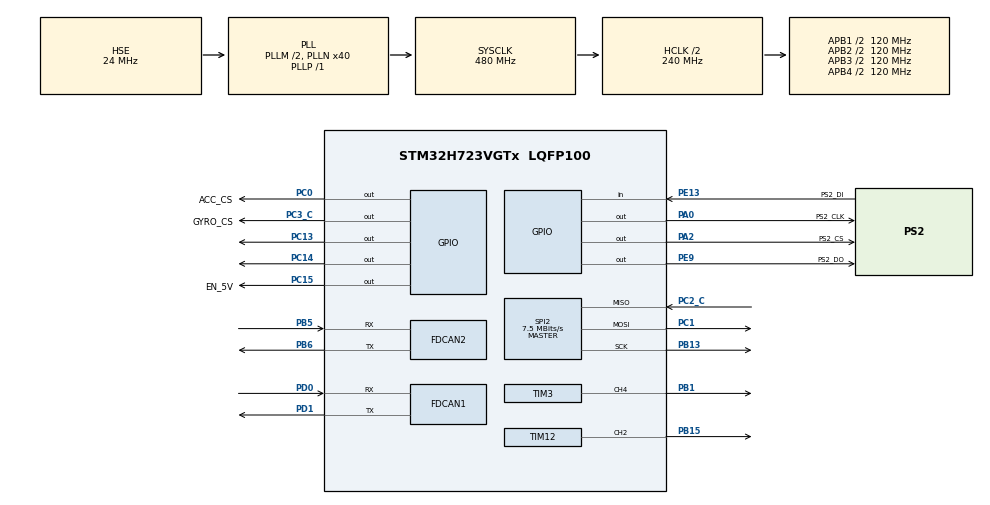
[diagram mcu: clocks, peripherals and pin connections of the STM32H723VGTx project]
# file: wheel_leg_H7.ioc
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CORTEX_M7.default_mode_Activation=1
FDCAN1.CalculateBaudRateNominal=1000000
FDCAN1.CalculateTimeBitNominal=1000
FDCAN1.CalculateTimeQuantumNominal=40.0
FDCAN1.DataPrescaler=4
FDCAN1.DataTimeSeg1=19
FDCAN1.DataTimeSeg2=5
FDCAN1.ExtFiltersNbr=5
FDCAN1.NominalPrescaler=4
FDCAN1.NominalTimeSeg1=19
FDCAN1.NominalTimeSeg2=5
FDCAN1.RxFifo0ElmtSize=FDCAN_DATA_BYTES_24
FDCAN1.RxFifo0ElmtsNbr=4
FDCAN1.RxFifo1ElmtSize=FDCAN_DATA_BYTES_24
FDCAN1.StdFiltersNbr=5
FDCAN1.TxElmtSize=FDCAN_DATA_BYTES_24
FDCAN1.TxFifoQueueElmtsNbr=8
FDCAN2.CalculateBaudRateNominal=1000000
FDCAN2.CalculateTimeBitNominal=1000
FDCAN2.CalculateTimeQuantumNominal=50.0
FDCAN2.DataPrescaler=5
FDCAN2.DataSyncJumpWidth=1
FDCAN2.DataTimeSeg1=14
FDCAN2.DataTimeSeg2=5
FDCAN2.ExtFiltersNbr=5
FDCAN2.MessageRAMOffset=854
FDCAN2.NominalPrescaler=5
FDCAN2.NominalTimeSeg1=14
FDCAN2.NominalTimeSeg2=5
FDCAN2.RxFifo0ElmtSize=FDCAN_DATA_BYTES_8
FDCAN2.RxFifo0ElmtsNbr=0
FDCAN2.RxFifo1ElmtSize=FDCAN_DATA_BYTES_24
FDCAN2.RxFifo1ElmtsNbr=4
FDCAN2.StdFiltersNbr=5
FDCAN2.TxElmtSize=FDCAN_DATA_BYTES_16
FDCAN2.TxFifoQueueElmtsNbr=4
FREERTOS.Tasks01=defaultTask,24,128,StartDefaultTask,Default,NULL,Dynamic,NULL,NULL
FREERTOS.configENABLE_FPU=1
Mcu.Family=STM32H7
Mcu.Name=STM32H723VGTx
Mcu.Package=LQFP100
NVIC.FDCAN1_IT0_IRQn=true\:5\:0\:false\:false\:true\:true\:true\:true\:true
NVIC.FDCAN2_IT0_IRQn=true\:5\:0\:false\:false\:true\:true\:true\:true\:true
NVIC.PriorityGroup=NVIC_PRIORITYGROUP_4
NVIC.TIM2_IRQn=true\:15\:0\:false\:false\:true\:false\:false\:true\:true
NVIC.TimeBase=TIM2_IRQn
NVIC.TimeBaseIP=TIM2
PA0.GPIO_Label=PS2_CLK
PA0.PinState=GPIO_PIN_SET
PA0.Signal=GPIO_Output
PA13(JTMS/SWDIO).Mode=Serial_Wire
PA13(JTMS/SWDIO).Signal=DEBUG_JTMS-SWDIO
PA14(JTCK/SWCLK).Mode=Serial_Wire
PA14(JTCK/SWCLK).Signal=DEBUG_JTCK-SWCLK
PA2.GPIO_Label=PS2_CS
PA2.PinState=GPIO_PIN_SET
PA2.Signal=GPIO_Output
PB1.Signal=S_TIM3_CH4
PB13.GPIO_Speed=GPIO_SPEED_FREQ_VERY_HIGH
PB13.Mode=Full_Duplex_Master
PB13.Signal=SPI2_SCK
PB15.Signal=S_TIM12_CH2
PB5.Mode=FDCAN_Activate
PB5.Signal=FDCAN2_RX
PB6.Mode=FDCAN_Activate
PB6.Signal=FDCAN2_TX
PC0.GPIO_Label=ACC_CS
PC0.GPIO_Speed=GPIO_SPEED_FREQ_VERY_HIGH
PC0.PinState=GPIO_PIN_SET
PC0.Signal=GPIO_Output
PC1.GPIO_Speed=GPIO_SPEED_FREQ_VERY_HIGH
PC1.Mode=Full_Duplex_Master
PC1.Signal=SPI2_MOSI
PC13.Signal=GPIO_Output
PC14-OSC32_IN.Signal=GPIO_Output
PC15-OSC32_OUT.GPIO_Label=EN_5V
PC15-OSC32_OUT.Signal=GPIO_Output
PC2_C.GPIO_Speed=GPIO_SPEED_FREQ_VERY_HIGH
PC2_C.Mode=Full_Duplex_Master
PC2_C.Signal=SPI2_MISO
PC3_C.GPIO_Label=GYRO_CS
PC3_C.GPIO_Speed=GPIO_SPEED_FREQ_VERY_HIGH
PC3_C.PinState=GPIO_PIN_SET
PC3_C.Signal=GPIO_Output
PD0.Mode=FDCAN_Activate
PD0.Signal=FDCAN1_RX
PD1.Mode=FDCAN_Activate
PD1.Signal=FDCAN1_TX
PE13.GPIO_Label=PS2_DI
PE13.GPIO_PuPd=GPIO_PULLUP
PE13.Signal=GPIO_Input
PE9.GPIO_Label=PS2_DO
PE9.PinState=GPIO_PIN_SET
PE9.Signal=GPIO_Output
PH0-OSC_IN.Mode=HSE-External-Oscillator
PH0-OSC_IN.Signal=RCC_OSC_IN
PH1-OSC_OUT.Mode=HSE-External-Oscillator
PH1-OSC_OUT.Signal=RCC_OSC_OUT
ProjectManager.HeapSize=0x200
ProjectManager.StackSize=0x400
ProjectManager.TargetToolchain=MDK-ARM V5.32
RCC.ADCFreq_Value=150000000
RCC.APB1Freq_Value=120000000
RCC.APB2Freq_Value=120000000
RCC.APB3Freq_Value=120000000
RCC.APB4Freq_Value=120000000
RCC.CortexFreq_Value=480000000
RCC.D1PPRE=RCC_APB3_DIV2
RCC.D2PPRE1=RCC_APB1_DIV2
RCC.D2PPRE2=RCC_APB2_DIV2
RCC.D3PPRE=RCC_APB4_DIV2
RCC.DIVM1=2
RCC.DIVM2=2
RCC.DIVN1=40
RCC.DIVN2=25
RCC.DIVP1=1
RCC.DIVQ1=4
RCC.DIVQ2=3
RCC.FDCANCLockSelection=RCC_FDCANCLKSOURCE_PLL2
RCC.HCLKFreq_Value=240000000
RCC.HPRE=RCC_HCLK_DIV2
RCC.HSE_VALUE=24000000
RCC.PLL2FRACN=0
RCC.PLL3FRACN=0
RCC.PLLFRACN=0
RCC.PLLSourceVirtual=RCC_PLLSOURCE_HSE
RCC.SYSCLKFreq_VALUE=480000000
RCC.SYSCLKSource=RCC_SYSCLKSOURCE_PLLCLK
RCC.USBFreq_Value=120000000
SH.S_TIM12_CH2.0=TIM12_CH2,PWM Generation2 CH2
SH.S_TIM3_CH4.0=TIM3_CH4,PWM Generation4 CH4
SPI2.BaudRatePrescaler=SPI_BAUDRATEPRESCALER_16
SPI2.CLKPhase=SPI_PHASE_2EDGE
SPI2.CLKPolarity=SPI_POLARITY_HIGH
SPI2.CalculateBaudRate=7.5 MBits/s
SPI2.DataSize=SPI_DATASIZE_8BIT
SPI2.Direction=SPI_DIRECTION_2LINES
SPI2.Mode=SPI_MODE_MASTER
SPI2.VirtualType=VM_MASTER
TIM12.AutoReloadPreload=TIM_AUTORELOAD_PRELOAD_ENABLE
TIM12.Channel-PWM\ Generation2\ CH2=TIM_CHANNEL_2
TIM12.Period=2000-1
TIM12.Prescaler=24-1
TIM12.Pulse-PWM\ Generation2\ CH2=1000
TIM3.AutoReloadPreload=TIM_AUTORELOAD_PRELOAD_ENABLE
TIM3.Channel-PWM\ Generation4\ CH4=TIM_CHANNEL_4
TIM3.Period=10000-1
TIM3.Prescaler=24-1
VP_FREERTOS_VS_CMSIS_V2.Mode=CMSIS_V2
VP_MEMORYMAP_VS_MEMORYMAP.Mode=CurAppReg
VP_SYS_VS_tim2.Mode=TIM2
board=custom

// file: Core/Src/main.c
/* USER CODE BEGIN Header */
/**
  ******************************************************************************
  * @file           : main.c
  * @brief          : Main program body
  ******************************************************************************
  * @attention
  *
  * Copyright (c) 2026 STMicroelectronics.
  * All rights reserved.
  *
  * This software is licensed under terms that can be found in the LICENSE file
  * in the root directory of this software component.
  * If no LICENSE file comes with this software, it is provided AS-IS.
  *
  ******************************************************************************
  */
/* USER CODE END Header */
#include "main.h"
#include "FreeRTOS.h"
#include "cmsis_os2.h"
#include "fdcan.h"
#include "spi.h"
#include "tim.h"
#include "gpio.h"

/* USER CODE BEGIN Includes */
#include "BMI088driver.h"
#include "mahony_filter.h"
#include "bsp_dwt.h"
#include "BMI088Middleware.h"
#include "can_bsp.h"
#include "dm4310_drv.h"
#include "buzzer.h"
#include "DebugConfig.h"
/* USER CODE END Includes */

/* USER CODE BEGIN PV */
uint8_t BMI088_INIT_OK_FLAG = 0;
/* USER CODE END PV */

void SystemClock_Config(void);
void PeriphCommonClock_Config(void);
static void MPU_Config(void);
void MX_FREERTOS_Init(void);
/* USER CODE BEGIN PFP */

void FREERTOS_ALLTASK_Init(void);

/* USER CODE END PFP */

int main(void)
{

  /* MPU Configuration--------------------------------------------------------*/
  MPU_Config();

  /* MCU Configuration--------------------------------------------------------*/

  /* Reset of all peripherals, Initializes the Flash interface and the Systick. */
  HAL_Init();

  /* Configure the system clock */
  SystemClock_Config();

  /* Configure the peripherals common clocks */
  PeriphCommonClock_Config();

  /* Initialize all configured peripherals */
  MX_GPIO_Init();
  MX_SPI2_Init();
  MX_FDCAN1_Init();
  MX_FDCAN2_Init();
  MX_TIM3_Init();
  MX_TIM12_Init();
  /* USER CODE BEGIN 2 */
	// 根据主频设定
	DWT_Init(480);
	// 这个GPIO是控制5V输出的
	HAL_GPIO_WritePin(GPIOC,EN_5V_Pin,GPIO_PIN_SET);

	while (BMI088_init(&hspi2, 0) != BMI088_NO_ERROR)
	{
	  ;
	}
	// 给到温度控制任务，让其知道能读温度了
	BMI088_INIT_OK_FLAG = 1;
	// 把电机供电打开
	Power_OUT1_ON;
	Power_OUT2_ON;
	FDCAN1_Config();//can过滤器初始化
	FDCAN2_Config();
	Init_buzzer();

  /* USER CODE END 2 */

  /* Init scheduler */
  osKernelInitialize();  /* Call init function for freertos objects (in cmsis_os2.c) */
  MX_FREERTOS_Init();

  /* Start scheduler */
  osKernelStart();

  /* We should never get here as control is now taken by the scheduler */

  /* Infinite loop */
  while (1)
  {

  }
}

void SystemClock_Config(void)
{
  RCC_OscInitTypeDef RCC_OscInitStruct = {0};
  RCC_ClkInitTypeDef RCC_ClkInitStruct = {0};

  /** Supply configuration update enable
  */
  HAL_PWREx_ConfigSupply(PWR_LDO_SUPPLY);

  /** Configure the main internal regulator output voltage
  */
  __HAL_PWR_VOLTAGESCALING_CONFIG(PWR_REGULATOR_VOLTAGE_SCALE0);

  while(!__HAL_PWR_GET_FLAG(PWR_FLAG_VOSRDY)) {}

  /** Initializes the RCC Oscillators according to the specified parameters
  * in the RCC_OscInitTypeDef structure.
  */
  RCC_OscInitStruct.OscillatorType = RCC_OSCILLATORTYPE_HSE;
  RCC_OscInitStruct.HSEState = RCC_HSE_ON;
  RCC_OscInitStruct.PLL.PLLState = RCC_PLL_ON;
  RCC_OscInitStruct.PLL.PLLSource = RCC_PLLSOURCE_HSE;
  RCC_OscInitStruct.PLL.PLLM = 2;
  RCC_OscInitStruct.PLL.PLLN = 40;
  RCC_OscInitStruct.PLL.PLLP = 1;
  RCC_OscInitStruct.PLL.PLLQ = 4;
  RCC_OscInitStruct.PLL.PLLR = 2;
  RCC_OscInitStruct.PLL.PLLRGE = RCC_PLL1VCIRANGE_3;
  RCC_OscInitStruct.PLL.PLLVCOSEL = RCC_PLL1VCOWIDE;
  RCC_OscInitStruct.PLL.PLLFRACN = 0;
  if (HAL_RCC_OscConfig(&RCC_OscInitStruct) != HAL_OK)
  {
    Error_Handler();
  }

  /** Initializes the CPU, AHB and APB buses clocks
  */
  RCC_ClkInitStruct.ClockType = RCC_CLOCKTYPE_HCLK|RCC_CLOCKTYPE_SYSCLK
                              |RCC_CLOCKTYPE_PCLK1|RCC_CLOCKTYPE_PCLK2
                              |RCC_CLOCKTYPE_D3PCLK1|RCC_CLOCKTYPE_D1PCLK1;
  RCC_ClkInitStruct.SYSCLKSource = RCC_SYSCLKSOURCE_PLLCLK;
  RCC_ClkInitStruct.SYSCLKDivider = RCC_SYSCLK_DIV1;
  RCC_ClkInitStruct.AHBCLKDivider = RCC_HCLK_DIV2;
  RCC_ClkInitStruct.APB3CLKDivider = RCC_APB3_DIV2;
  RCC_ClkInitStruct.APB1CLKDivider = RCC_APB1_DIV2;
  RCC_ClkInitStruct.APB2CLKDivider = RCC_APB2_DIV2;
  RCC_ClkInitStruct.APB4CLKDivider = RCC_APB4_DIV2;

  if (HAL_RCC_ClockConfig(&RCC_ClkInitStruct, FLASH_LATENCY_3) != HAL_OK)
  {
    Error_Handler();
  }
}

void PeriphCommonClock_Config(void)
{
  RCC_PeriphCLKInitTypeDef PeriphClkInitStruct = {0};

  /** Initializes the peripherals clock
  */
  PeriphClkInitStruct.PeriphClockSelection = RCC_PERIPHCLK_FDCAN;
  PeriphClkInitStruct.PLL2.PLL2M = 2;
  PeriphClkInitStruct.PLL2.PLL2N = 25;
  PeriphClkInitStruct.PLL2.PLL2P = 2;
  PeriphClkInitStruct.PLL2.PLL2Q = 3;
  PeriphClkInitStruct.PLL2.PLL2R = 2;
  PeriphClkInitStruct.PLL2.PLL2RGE = RCC_PLL2VCIRANGE_3;
  PeriphClkInitStruct.PLL2.PLL2VCOSEL = RCC_PLL2VCOWIDE;
  PeriphClkInitStruct.PLL2.PLL2FRACN = 0;
  PeriphClkInitStruct.FdcanClockSelection = RCC_FDCANCLKSOURCE_PLL2;
  if (HAL_RCCEx_PeriphCLKConfig(&PeriphClkInitStruct) != HAL_OK)
  {
    Error_Handler();
  }
}

 /* MPU Configuration */

void MPU_Config(void)
{
  MPU_Region_InitTypeDef MPU_InitStruct = {0};

  /* Disables the MPU */
  HAL_MPU_Disable();

  /** Initializes and configures the Region and the memory to be protected
  */
  MPU_InitStruct.Enable = MPU_REGION_ENABLE;
  MPU_InitStruct.Number = MPU_REGION_NUMBER0;
  MPU_InitStruct.BaseAddress = 0x0;
  MPU_InitStruct.Size = MPU_REGION_SIZE_4GB;
  MPU_InitStruct.SubRegionDisable = 0x87;
  MPU_InitStruct.TypeExtField = MPU_TEX_LEVEL0;
  MPU_InitStruct.AccessPermission = MPU_REGION_NO_ACCESS;
  MPU_InitStruct.DisableExec = MPU_INSTRUCTION_ACCESS_DISABLE;
  MPU_InitStruct.IsShareable = MPU_ACCESS_SHAREABLE;
  MPU_InitStruct.IsCacheable = MPU_ACCESS_NOT_CACHEABLE;
  MPU_InitStruct.IsBufferable = MPU_ACCESS_NOT_BUFFERABLE;

  HAL_MPU_ConfigRegion(&MPU_InitStruct);
  /* Enables the MPU */
  HAL_MPU_Enable(MPU_PRIVILEGED_DEFAULT);

}

void HAL_TIM_PeriodElapsedCallback(TIM_HandleTypeDef *htim)
{
  if (htim->Instance == TIM2)
  {
    HAL_IncTick();
  }
}

void Error_Handler(void)
{
  __disable_irq();
  while (1)
  {
  }
}

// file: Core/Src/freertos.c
/* USER CODE BEGIN Header */
/**
  ******************************************************************************
  * File Name          : freertos.c
  * Description        : Code for freertos applications
  ******************************************************************************
  * @attention
  *
  * Copyright (c) 2026 STMicroelectronics.
  * All rights reserved.
  *
  * This software is licensed under terms that can be found in the LICENSE file
  * in the root directory of this software component.
  * If no LICENSE file comes with this software, it is provided AS-IS.
  *
  ******************************************************************************
  */
/* USER CODE END Header */

#include "FreeRTOS.h"
#include "task.h"
#include "main.h"
#include "FreeRTOS.h"
#include "cmsis_os2.h"

/* USER CODE BEGIN Includes */

#include "cmsis_os2.h"
#include "ps2_drv.h"
#include "BMI088driver.h"
#include "INS_task.h"
#include "chassisL_task.h"
#include "chassisR_task.h"
#include "observe_task.h"
#include "DebugConfig.h"
#include "imu_temp_ctrl.h"
/* USER CODE END Includes */

/* USER CODE BEGIN Variables */

osThreadId_t INS_TASKHandle;
osThreadId_t R_CHASSIS_TASKHandle;
osThreadId_t L_CHASSIS_TASKHandle;
osThreadId_t OBSERVER_TASKHandle;
osThreadId_t PS2_TASKHandle;
osThreadId_t Temp_TASKHandle;

extern SPI_HandleTypeDef hspi2;
volatile uint32_t IF_RTOS_UPDATE_DATA = 0;
volatile uint32_t fm_magic = 0x12345678;

/* USER CODE END Variables */
/* Definitions for defaultTask */
osThreadId_t defaultTaskHandle;
const osThreadAttr_t defaultTask_attributes = {
  .name = "defaultTask",
  .stack_size = 128 * 4,
  .priority = (osPriority_t) osPriorityNormal,
};

/* USER CODE BEGIN FunctionPrototypes */
void FREERTOS_ALLTASK_Init(void);

// ���ӵ���Ӧ�ĺ���ʵ������
void INS_Task(void*argument);
void R_CHASSIS_Task(void*argument);
void L_CHASSIS_Task(void*argument);
void OBSERVER_Task(void*argument);
void PS2_Task(void*argument);
void IMU_TempCtrlTask(void*argument);
/* USER CODE END FunctionPrototypes */

void StartDefaultTask(void *argument);

void MX_FREERTOS_Init(void); /* (MISRA C 2004 rule 8.1) */

void MX_FREERTOS_Init(void) {

  /* Create the thread(s) */
  /* creation of defaultTask */
  defaultTaskHandle = osThreadNew(StartDefaultTask, NULL, &defaultTask_attributes);

  /* USER CODE BEGIN RTOS_THREADS */
	FREERTOS_ALLTASK_Init();
  /* add threads, ... */
  /* USER CODE END RTOS_THREADS */

}

void StartDefaultTask(void *argument)
{
  /* USER CODE BEGIN StartDefaultTask */
  /* Infinite loop */
  for(;;)
  {
    osDelay(1);
		#if DEBUGGING_WITHOUT_IMU
		IF_RTOS_UPDATE_DATA++;
		#endif
  }
  /* USER CODE END StartDefaultTask */
}

/* USER CODE BEGIN Application */
void FREERTOS_ALLTASK_Init()
{
	//--------------------------------------------------------------------
	const osThreadAttr_t INS_TASK_attributes = {
		.name = "INS_TASK",
		.stack_size = 512,
		.priority = (osPriority_t) osPriorityRealtime,
	};

	INS_TASKHandle = osThreadNew(INS_Task, NULL, &INS_TASK_attributes);
	//--------------------------------------------------------------------

	const osThreadAttr_t R_CHASSIS_TASK_attributes = {
		.name = "R_CHASSIS_TASK",
		.stack_size = 1024,
		.priority = (osPriority_t) osPriorityAboveNormal,
	};

	R_CHASSIS_TASKHandle = osThreadNew(R_CHASSIS_Task, NULL, &R_CHASSIS_TASK_attributes);
	//--------------------------------------------------------------------
	const osThreadAttr_t L_CHASSIS_TASK_attributes = {
		.name = "L_CHASSIS_TASK",
		.stack_size = 1024,
		.priority = (osPriority_t) osPriorityAboveNormal,
	};

	L_CHASSIS_TASKHandle = osThreadNew(L_CHASSIS_Task, NULL, &L_CHASSIS_TASK_attributes);
	//--------------------------------------------------------------------

	const osThreadAttr_t OBSERVER_TASK_attributes = {
		.name = "OBSERVER_TASK",
		.stack_size = 512,
		.priority = (osPriority_t) osPriorityHigh,
	};

	OBSERVER_TASKHandle = osThreadNew(OBSERVER_Task, NULL, &OBSERVER_TASK_attributes);
	//--------------------------------------------------------------------
	const osThreadAttr_t PS2_TASK_attributes = {
		.name = "PS2_TASK",
		.stack_size = 512,
		.priority = (osPriority_t) osPriorityAboveNormal,
	};

	PS2_TASKHandle = osThreadNew(PS2_Task, NULL, &PS2_TASK_attributes);

		const osThreadAttr_t Temp_TASK_attributes = {
		.name = "Temp_TASK",
		.stack_size = 256,
		.priority = (osPriority_t) osPriorityNormal,
	};

	Temp_TASKHandle = osThreadNew(IMU_TempCtrlTask, NULL, &Temp_TASK_attributes);
	//--------------------------------------------------------------------
}

void INS_Task(void *argument )
{

  	#if DEBUGGING_WITHOUT_IMU
		while(1)
		{
			osDelay(1);
		}
		#else
		// 1ms
    INS_task();
		#endif

}

void R_CHASSIS_Task(void *argument )
{

		// 最少3ms
	#if DEBUGGING_WITHOUT_IMU
	while(1)
	{

    /*
     * main 中已经完成：
     * MX_FDCAN2_Init();
     * FDCAN2_Config();
     */

    /* 完全照达妙原程序：发 10 次使能帧 */
    for (uint8_t i = 0; i < 10; i++)
    {
        enable_motor_mode(&hfdcan2, 0x06, MIT_MODE);
        osDelay(1);
    }

    /* 完全照达妙未启动状态：持续发送全零 MIT 帧 */
    for (;;)
    {
        mit_ctrl(&hfdcan2,
                 0x06,
                 0.0f,   // pos
                 0.0f,   // vel
                 0.0f,   // kp
                 0.0f,   // kd
                 0.0f);  // torque

        osDelay(3);

		}
	}
	#else
  ChassisR_task();
  #endif

}

void L_CHASSIS_Task(void *argument )
{

  	#if (DEBUGGING_WITHOUT_IMU == 1)
		while(1)
		{
			osDelay(1);
		}
		#else
		// 最少是3ms
    ChassisL_task();
		#endif

}

void OBSERVER_Task(void *argument )
{

    #if DEBUGGING_WITHOUT_IMU
		while(1)
		{
			osDelay(1);
		}
		#else
		// 里面任务周期是3ms
    Observe_task();
    #endif

}

void PS2_Task(void *argument )
{

    #if DEBUGGING_WITHOUT_IMU
		while(1)
		{
			osDelay(1);
		}
		#else
		// 读取周期是10ms
    PS2_task();
    #endif

}

void IMU_TempCtrlTask(void * argument)
{
  /* USER CODE BEGIN IMU_TempCtrlTask */
  /* Infinite loop */
	IMU_TempCtrltask();
  /* USER CODE END IMU_TempCtrlTask */
}

/* USER CODE END Application */
